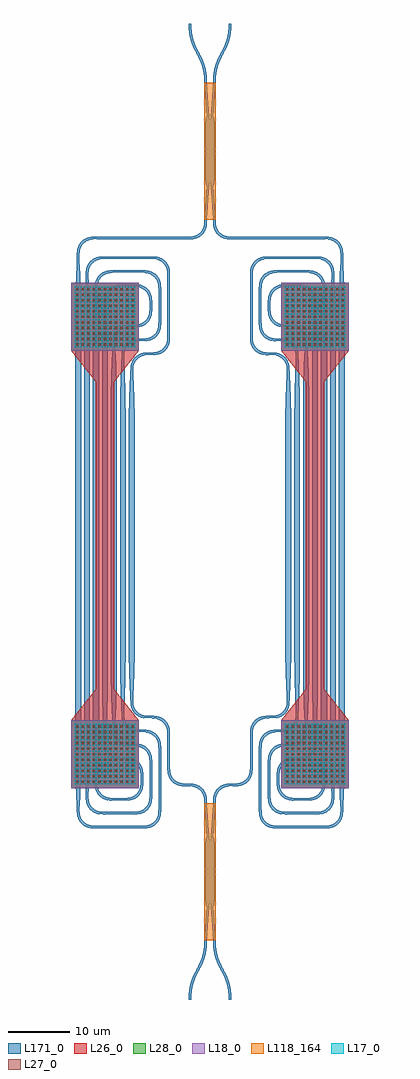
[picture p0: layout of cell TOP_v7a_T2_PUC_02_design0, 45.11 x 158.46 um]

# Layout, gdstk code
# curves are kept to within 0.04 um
import gdstk
lib = gdstk.Library(unit=1e-6, precision=1e-09)
def R(c, l, rs):  # rectangles x0, y0, x1, y1
    for r in rs: c.add(gdstk.rectangle(r[:2], r[2:], *l))
def A(c, l, x, y, w, h, nx, ny, dx, dy):  # array of equal rectangles
    R(c, l, [(x+i*dx, y+j*dy, x+i*dx+w, y+j*dy+h) for i in range(nx) for j in range(ny)])
def P(c, l, *ps):  # polygons
    for p in ps: c.add(gdstk.Polygon(p, *l))
L17_0 = (17, 0)
L18_0 = (18, 0)
L26_0 = (26, 0)
L27_0 = (27, 0)
L28_0 = (28, 0)
L118_164 = (118, 164)
L171_0 = (171, 0)

top_v7a_t2_puc_02_design = lib.new_cell('TOP_v7a_T2_PUC_02_design0')
A(top_v7a_t2_puc_02_design, L17_0, -21.955, -44.298, 0.2, 0.2, 21, 21, 0.48, 0.48)
A(top_v7a_t2_puc_02_design, L17_0, 12.155, -44.298, 0.2, 0.2, 21, 21, 0.48, 0.48)
A(top_v7a_t2_puc_02_design, L17_0, -21.955, 26.702, 0.2, 0.2, 21, 21, 0.48, 0.48)
A(top_v7a_t2_puc_02_design, L17_0, 12.155, 26.702, 0.2, 0.2, 21, 21, 0.48, 0.48)
R(top_v7a_t2_puc_02_design, L18_0, [(-22.555,-44.898,-11.555,-33.898), (11.555,-44.898,22.555,-33.898), (-22.555,26.102,-11.555,37.102), (11.555,26.102,22.555,37.102)])
R(top_v7a_t2_puc_02_design, L26_0, [(-22.555,-44.898,-11.555,-33.898), (11.555,-44.898,22.555,-33.898), (-18.555,-28.898,-15.555,21.102), (15.555,-28.898,18.555,21.102), (-22.555,26.102,-11.555,37.102), (11.555,26.102,22.555,37.102)])
P(top_v7a_t2_puc_02_design, L26_0, [(15.555,21.102),(11.555,26.102),(22.555,26.102),(18.555,21.102)],
  [(11.555,-33.898),(15.555,-28.898),(18.555,-28.898),(22.555,-33.898)],
  [(-18.555,21.102),(-22.555,26.102),(-11.555,26.102),(-15.555,21.102)],
  [(-22.555,-33.898),(-18.555,-28.898),(-15.555,-28.898),(-11.555,-33.898)])
A(top_v7a_t2_puc_02_design, L27_0, -21.735, -44.078, 0.36, 0.36, 11, 11, 0.9, 0.9)
A(top_v7a_t2_puc_02_design, L27_0, 12.375, -44.078, 0.36, 0.36, 11, 11, 0.9, 0.9)
A(top_v7a_t2_puc_02_design, L27_0, -21.735, 26.922, 0.36, 0.36, 11, 11, 0.9, 0.9)
A(top_v7a_t2_puc_02_design, L27_0, 12.375, 26.922, 0.36, 0.36, 11, 11, 0.9, 0.9)
R(top_v7a_t2_puc_02_design, L28_0, [(-22.555,-44.898,-11.555,-33.898), (11.555,-44.898,22.555,-33.898), (-22.555,26.102,-11.555,37.102), (11.555,26.102,22.555,37.102)])
R(top_v7a_t2_puc_02_design, L118_164, [(-0.91,-69.598,0.91,-47.398), (-0.91,47.398,0.91,69.598)])
R(top_v7a_t2_puc_02_design, L171_0, [(-18.405,44.193,-3.705,44.603), (3.705,44.193,18.405,44.603)])
P(top_v7a_t2_puc_02_design, L171_0, [(10.987,-51.444),(9.877,-51.337),(9.09,-50.986),(8.753,-50.716),(8.437,-50.347),(8.198,-49.925),(8.043,-49.461),(7.949,-48.406),(7.957,-38.09),(8.043,-37.425),(8.244,-36.863),(8.569,-36.367),(8.959,-35.994),(9.468,-35.691),(9.986,-35.524),(11.987,-35.405),(12.76,-35.167),(13.218,-34.843),(13.58,-34.415),(13.805,-33.951),(13.924,-33.383),(13.95,-32.648),(13.773,-27.8),(13.706,-23.254),(13.705,15.155),(13.768,19.801),(13.945,25.245),(13.87,25.926),(13.696,26.415),(13.413,26.845),(12.961,27.251),(12.546,27.469),(12.084,27.595),(10.373,27.67),(9.568,27.853),(9.136,28.074),(8.793,28.337),(8.501,28.656),(8.244,29.067),(8.031,29.683),(7.953,30.405),(7.973,36.724),(8.07,37.274),(8.244,37.727),(8.501,38.138),(8.874,38.528),(9.275,38.803),(9.72,38.996),(10.207,39.105),(10.876,39.147),(15.952,39.144),(16.888,39.012),(17.57,38.69),(18.091,38.223),(18.462,37.629),(18.675,36.835),(18.923,31.094),(19.004,26.447),(18.963,-37.374),(18.703,-44.296),(18.629,-44.907),(18.416,-45.523),(18.056,-46.06),(17.57,-46.486),(16.94,-46.792),(16.063,-46.936),(13.608,-46.94),(12.886,-46.862),(12.27,-46.649),(11.653,-46.216),(11.144,-45.523),(10.92,-44.852),(10.849,-43.906),(10.857,-42.59),(10.943,-41.925),(11.194,-41.268),(11.577,-40.746),(12.081,-40.342),(12.723,-40.063),(13.329,-39.961),(14.984,-39.891),(15.742,-39.622),(16.186,-39.279),(16.529,-38.835),(16.746,-38.317),(16.836,-37.736),(16.654,-31.491),(16.605,-27.451),(16.606,24.298),(16.673,28.844),(16.85,33.692),(16.824,34.427),(16.705,34.995),(16.454,35.498),(16.048,35.95),(15.533,36.273),(15.129,36.407),(14.595,36.476),(12.017,36.473),(11.531,36.407),(11.084,36.253),(10.685,36.009),(10.347,35.685),(10.108,35.338),(9.927,34.906),(9.811,33.888),(9.821,32.562),(9.914,31.933),(10.18,31.335),(10.577,30.875),(11.042,30.561),(11.531,30.387),(13.498,30.272),(14.292,30.059),(14.714,29.82),(15.083,29.504),(15.383,29.121),(15.623,28.639),(15.792,27.828),(15.95,24.274),(16.105,17.304),(16.102,-25.807),(16.023,-30.05),(15.787,-35.68),(15.675,-36.281),(15.439,-36.825),(15.083,-37.3),(14.624,-37.676),(14.142,-37.916),(13.608,-38.053),(11.87,-38.129),(11.302,-38.248),(10.612,-38.64),(10.108,-39.252),(9.89,-39.824),(9.815,-40.505),(9.836,-46.723),(9.988,-47.379),(10.347,-47.981),(10.878,-48.438),(11.531,-48.703),(12.556,-48.783),(17.151,-48.782),(17.884,-48.731),(18.642,-48.462),(19.272,-47.908),(19.633,-47.202),(19.745,-46.381),(19.568,-40.937),(19.505,-36.291),(19.505,28.495),(19.554,32.535),(19.739,38.732),(19.67,39.266),(19.536,39.67),(19.3,40.074),(19.018,40.387),(18.642,40.666),(18.258,40.842),(17.348,40.982),(9.656,40.987),(8.776,40.935),(8.142,40.733),(7.574,40.323),(7.164,39.755),(6.962,39.121),(6.91,38.241),(6.911,28.406),(6.948,27.77),(7.071,27.255),(7.28,26.835),(7.574,26.471),(7.938,26.177),(8.314,25.985),(8.97,25.833),(10.819,25.737),(11.292,25.601),(11.77,25.35),(12.22,24.964),(12.566,24.482),(12.79,23.934),(12.887,23.384),(13.123,17.754),(13.202,13.511),(13.202,-21.307),(13.05,-27.57),(12.9,-31.012),(12.759,-31.833),(12.566,-32.278),(12.256,-32.72),(11.901,-33.052),(11.49,-33.309),(10.653,-33.561),(9.117,-33.617),(8.446,-33.734),(7.785,-34.081),(7.28,-34.631),(7.027,-35.184),(6.921,-35.858),(6.91,-41.398),(6.5,-41.398),(6.507,-35.84),(6.606,-35.12),(6.844,-34.518),(7.383,-33.847),(7.778,-33.564),(8.168,-33.38),(8.923,-33.216),(10.683,-33.132),(11.183,-32.979),(11.587,-32.743),(12.022,-32.318),(12.322,-31.789),(12.462,-31.23),(12.5,-30.447),(12.287,-25.55),(12.205,-20.6),(12.208,13.511),(12.287,17.754),(12.5,22.602),(12.474,23.337),(12.383,23.816),(12.179,24.289),(11.836,24.733),(11.472,25.027),(11.052,25.236),(10.634,25.345),(8.812,25.432),(8.018,25.645),(7.596,25.884),(7.227,26.2),(6.927,26.583),(6.687,27.065),(6.55,27.599),(6.5,28.323),(6.535,39.085),(6.651,39.627),(6.844,40.072),(7.154,40.514),(7.509,40.846),(7.92,41.103),(8.373,41.277),(9.537,41.398),(17.234,41.397),(18.124,41.316),(18.835,41.053),(19.47,40.554),(19.912,39.879),(20.118,39.14),(20.329,33.647),(20.405,28.495),(20.405,-36.291),(20.356,-40.331),(20.153,-46.546),(20.054,-47.266),(19.816,-47.868),(19.433,-48.39),(18.882,-48.822),(18.233,-49.087),(17.402,-49.19),(12.437,-49.194),(11.273,-49.073),(10.54,-48.736),(9.985,-48.227),(9.606,-47.575),(9.423,-46.77),(9.407,-40.34),(9.506,-39.62),(9.719,-39.065),(9.951,-38.702),(10.283,-38.347),(10.678,-38.064),(11.068,-37.88),(11.823,-37.716),(13.534,-37.641),(13.952,-37.532),(14.372,-37.323),(14.8,-36.961),(15.102,-36.544),(15.296,-36.067),(15.386,-35.486),(15.178,-29.746),(15.108,-25.807),(15.105,17.304),(15.187,22.254),(15.4,27.151),(15.348,28.031),(15.186,28.58),(14.863,29.095),(14.411,29.501),(13.996,29.719),(13.534,29.845),(11.879,29.915),(11.273,30.017),(10.586,30.324),(10.054,30.78),(9.694,31.317),(9.481,31.933),(9.407,32.544),(9.399,33.86),(9.52,35.024),(9.719,35.525),(10.019,35.973),(10.409,36.346),(10.82,36.603),(11.273,36.777),(11.879,36.879),(14.669,36.887),(15.224,36.816),(15.742,36.649),(16.336,36.278),(16.773,35.801),(17.109,35.127),(17.237,34.474),(17.437,28.844),(17.505,23.995),(17.504,-27.754),(17.437,-32.3),(17.242,-37.874),(17.125,-38.531),(16.861,-39.122),(16.457,-39.626),(15.982,-39.982),(15.49,-40.202),(15.058,-40.303),(12.981,-40.433),(12.492,-40.607),(12.062,-40.89),(11.656,-41.342),(11.405,-41.845),(11.286,-42.413),(11.26,-43.099),(11.274,-44.326),(11.405,-45.041),(11.738,-45.658),(12.328,-46.188),(12.886,-46.429),(13.515,-46.522),(15.898,-46.528),(16.764,-46.402),(17.425,-46.055),(17.955,-45.465),(18.22,-44.812),(18.299,-43.934),(18.078,-38.586),(18.005,-33.94),(18.006,26.447),(18.087,31.094),(18.3,35.942),(18.274,36.677),(18.122,37.333),(17.763,37.935),(17.272,38.367),(16.674,38.633),(15.701,38.736),(10.615,38.726),(10.081,38.657),(9.677,38.523),(9.235,38.259),(8.897,37.935),(8.658,37.588),(8.477,37.156),(8.361,36.138),(8.371,30.312),(8.464,29.683),(8.681,29.165),(9.162,28.594),(9.852,28.202),(10.42,28.083),(12.158,28.007),(12.988,27.738),(13.394,27.472),(13.741,27.133),(14.016,26.732),(14.225,26.235),(14.35,25.466),(14.49,21.62),(14.605,15.155),(14.602,-23.658),(14.529,-28.103),(14.337,-33.43),(14.24,-33.98),(14.016,-34.528),(13.67,-35.01),(13.22,-35.396),(12.742,-35.647),(12.269,-35.783),(10.42,-35.879),(9.764,-36.031),(9.388,-36.223),(9.024,-36.517),(8.73,-36.881),(8.521,-37.301),(8.398,-37.816),(8.361,-38.452),(8.398,-49.07),(8.614,-49.801),(9.024,-50.369),(9.592,-50.779),(10.226,-50.981),(11.106,-51.033),(18.454,-51.033),(19.334,-50.981),(20.092,-50.712),(20.722,-50.158),(21.083,-49.452),(21.195,-48.631),(20.978,-43.086),(20.906,-38.743),(20.906,30.947),(20.978,35.29),(21.2,41.398),(21.61,41.398),(21.832,35.29),(21.904,30.947),(21.905,-38.44),(21.823,-43.39),(21.575,-49.131),(21.362,-49.925),(20.956,-50.56),(20.332,-51.072),(19.574,-51.362),(18.684,-51.443)],
  [(-18.573,-51.444),(-19.574,-51.362),(-20.285,-51.099),(-20.92,-50.6),(-21.362,-49.925),(-21.504,-49.516),(-21.592,-48.964),(-21.81,-43.794),(-21.905,-38.44),(-21.905,30.644),(-21.832,35.29),(-21.61,41.398),(-21.2,41.398),(-20.978,35.29),(-20.906,30.947),(-20.906,-38.743),(-20.978,-43.086),(-21.195,-48.631),(-21.13,-49.264),(-20.986,-49.716),(-20.722,-50.158),(-20.398,-50.496),(-20.01,-50.757),(-19.574,-50.929),(-18.454,-51.033),(-10.959,-51.032),(-10.129,-50.963),(-9.468,-50.712),(-8.897,-50.231),(-8.538,-49.629),(-8.386,-48.973),(-8.361,-38.452),(-8.398,-37.816),(-8.521,-37.301),(-8.73,-36.881),(-9.024,-36.517),(-9.388,-36.223),(-9.764,-36.031),(-10.42,-35.879),(-12.269,-35.783),(-12.742,-35.647),(-13.22,-35.396),(-13.67,-35.01),(-14.016,-34.528),(-14.24,-33.98),(-14.337,-33.43),(-14.529,-28.103),(-14.602,-23.658),(-14.605,15.155),(-14.49,21.62),(-14.35,25.466),(-14.225,26.235),(-14.016,26.732),(-13.741,27.133),(-13.394,27.472),(-12.988,27.738),(-12.158,28.007),(-10.42,28.083),(-9.852,28.202),(-9.162,28.594),(-8.681,29.165),(-8.464,29.683),(-8.371,30.312),(-8.361,36.138),(-8.477,37.156),(-8.658,37.588),(-8.897,37.935),(-9.235,38.259),(-9.677,38.523),(-10.081,38.657),(-10.615,38.726),(-15.701,38.736),(-16.674,38.633),(-17.272,38.367),(-17.763,37.935),(-18.122,37.333),(-18.274,36.677),(-18.3,35.942),(-18.087,31.094),(-18.006,26.447),(-18.005,-33.94),(-18.078,-38.586),(-18.299,-43.934),(-18.22,-44.812),(-17.955,-45.465),(-17.425,-46.055),(-16.764,-46.402),(-15.898,-46.528),(-13.515,-46.522),(-12.886,-46.429),(-12.328,-46.188),(-11.738,-45.658),(-11.405,-45.041),(-11.274,-44.326),(-11.26,-43.099),(-11.286,-42.413),(-11.405,-41.845),(-11.656,-41.342),(-12.062,-40.89),(-12.492,-40.607),(-12.981,-40.433),(-15.058,-40.303),(-15.49,-40.202),(-15.982,-39.982),(-16.457,-39.626),(-16.861,-39.122),(-17.125,-38.531),(-17.242,-37.874),(-17.437,-32.3),(-17.504,-27.754),(-17.505,23.995),(-17.437,28.844),(-17.237,34.474),(-17.109,35.127),(-16.773,35.801),(-16.336,36.278),(-15.742,36.649),(-15.224,36.816),(-14.669,36.887),(-11.879,36.879),(-11.273,36.777),(-10.82,36.603),(-10.409,36.346),(-10.019,35.973),(-9.719,35.525),(-9.52,35.024),(-9.399,33.86),(-9.407,32.544),(-9.481,31.933),(-9.694,31.317),(-10.054,30.78),(-10.586,30.324),(-11.273,30.017),(-11.879,29.915),(-13.534,29.845),(-13.996,29.719),(-14.411,29.501),(-14.863,29.095),(-15.186,28.58),(-15.348,28.031),(-15.4,27.151),(-15.187,22.254),(-15.105,17.304),(-15.108,-25.807),(-15.178,-29.746),(-15.386,-35.486),(-15.296,-36.067),(-15.102,-36.544),(-14.8,-36.961),(-14.372,-37.323),(-13.952,-37.532),(-13.534,-37.641),(-11.823,-37.716),(-11.068,-37.88),(-10.678,-38.064),(-10.283,-38.347),(-9.951,-38.702),(-9.719,-39.065),(-9.506,-39.62),(-9.407,-40.34),(-9.423,-46.77),(-9.606,-47.575),(-9.985,-48.227),(-10.54,-48.736),(-11.273,-49.073),(-12.437,-49.194),(-17.402,-49.19),(-18.233,-49.087),(-18.835,-48.849),(-19.357,-48.466),(-19.789,-47.915),(-20.054,-47.266),(-20.153,-46.546),(-20.356,-40.331),(-20.405,-36.291),(-20.405,28.495),(-20.337,33.344),(-20.137,38.974),(-19.954,39.779),(-19.506,40.514),(-18.882,41.026),(-18.124,41.316),(-17.123,41.398),(-8.923,41.374),(-8.118,41.191),(-7.383,40.743),(-6.844,40.072),(-6.56,39.251),(-6.499,38.36),(-6.507,28.044),(-6.593,27.379),(-6.794,26.817),(-7.119,26.321),(-7.509,25.948),(-8.018,25.645),(-8.536,25.478),(-10.537,25.359),(-11.31,25.121),(-11.768,24.797),(-12.13,24.369),(-12.355,23.905),(-12.474,23.337),(-12.5,22.602),(-12.287,17.754),(-12.208,13.511),(-12.205,-20.6),(-12.278,-25.246),(-12.495,-30.791),(-12.42,-31.472),(-12.246,-31.961),(-11.932,-32.426),(-11.472,-32.823),(-11.052,-33.032),(-10.634,-33.141),(-8.923,-33.216),(-8.168,-33.38),(-7.778,-33.564),(-7.383,-33.847),(-6.844,-34.518),(-6.606,-35.12),(-6.507,-35.84),(-6.5,-41.398),(-6.91,-41.398),(-6.921,-35.858),(-7.027,-35.184),(-7.28,-34.631),(-7.785,-34.081),(-8.446,-33.734),(-9.117,-33.617),(-10.653,-33.561),(-11.49,-33.309),(-11.901,-33.052),(-12.256,-32.72),(-12.566,-32.278),(-12.759,-31.833),(-12.9,-31.012),(-13.05,-27.57),(-13.202,-21.307),(-13.202,13.511),(-13.123,17.754),(-12.887,23.384),(-12.79,23.934),(-12.566,24.482),(-12.22,24.964),(-11.77,25.35),(-11.292,25.601),(-10.819,25.737),(-8.97,25.833),(-8.314,25.985),(-7.938,26.177),(-7.574,26.471),(-7.28,26.835),(-7.071,27.255),(-6.948,27.77),(-6.911,28.406),(-6.91,38.241),(-6.962,39.121),(-7.208,39.838),(-7.642,40.387),(-8.227,40.773),(-8.97,40.961),(-17.495,40.976),(-18.258,40.842),(-18.948,40.45),(-19.3,40.074),(-19.572,39.583),(-19.698,39.121),(-19.749,38.388),(-19.573,33.344),(-19.505,28.495),(-19.505,-36.291),(-19.573,-41.14),(-19.75,-46.037),(-19.689,-46.966),(-19.452,-47.634),(-18.948,-48.246),(-18.346,-48.605),(-17.884,-48.731),(-17.151,-48.782),(-12.409,-48.782),(-11.531,-48.703),(-10.878,-48.438),(-10.347,-47.981),(-9.988,-47.379),(-9.836,-46.723),(-9.815,-40.505),(-9.89,-39.824),(-10.108,-39.252),(-10.612,-38.64),(-11.302,-38.248),(-11.87,-38.129),(-13.608,-38.053),(-14.142,-37.916),(-14.624,-37.676),(-15.083,-37.3),(-15.439,-36.825),(-15.675,-36.281),(-15.787,-35.68),(-16.023,-30.05),(-16.102,-25.807),(-16.105,17.304),(-16.032,21.95),(-15.803,27.66),(-15.74,28.216),(-15.604,28.689),(-15.383,29.121),(-15.083,29.504),(-14.714,29.82),(-14.292,30.059),(-13.498,30.272),(-11.531,30.387),(-11.042,30.561),(-10.612,30.844),(-10.18,31.335),(-9.914,31.933),(-9.821,32.562),(-9.81,33.741),(-9.914,34.861),(-10.064,35.255),(-10.288,35.612),(-10.612,35.95),(-10.959,36.189),(-11.391,36.37),(-11.87,36.461),(-14.595,36.476),(-15.081,36.417),(-15.49,36.291),(-15.975,36.009),(-16.4,35.574),(-16.689,35.039),(-16.824,34.427),(-16.85,33.692),(-16.673,28.844),(-16.606,24.298),(-16.605,-27.451),(-16.654,-31.491),(-16.836,-37.736),(-16.746,-38.317),(-16.529,-38.835),(-16.186,-39.279),(-15.742,-39.622),(-14.984,-39.891),(-13.329,-39.961),(-12.723,-40.063),(-12.081,-40.342),(-11.577,-40.746),(-11.194,-41.268),(-10.943,-41.925),(-10.857,-42.59),(-10.849,-43.906),(-10.92,-44.852),(-11.144,-45.523),(-11.577,-46.14),(-12.27,-46.649),(-12.886,-46.862),(-13.608,-46.94),(-16.063,-46.936),(-16.94,-46.792),(-17.57,-46.486),(-18.056,-46.06),(-18.416,-45.523),(-18.629,-44.907),(-18.703,-44.296),(-18.963,-37.374),(-19.004,26.447),(-18.923,31.094),(-18.675,36.835),(-18.462,37.629),(-18.091,38.223),(-17.524,38.72),(-16.837,39.027),(-15.784,39.147),(-10.541,39.137),(-9.986,39.066),(-9.468,38.899),(-9.002,38.628),(-8.604,38.264),(-8.294,37.822),(-8.085,37.325),(-7.985,36.835),(-7.949,36.11),(-7.957,30.294),(-8.056,29.574),(-8.294,28.972),(-8.833,28.301),(-9.228,28.018),(-9.618,27.834),(-10.373,27.67),(-12.133,27.586),(-12.633,27.433),(-13.037,27.197),(-13.472,26.772),(-13.772,26.243),(-13.912,25.684),(-13.95,24.901),(-13.773,20.004),(-13.705,15.155),(-13.706,-23.254),(-13.936,-33.236),(-13.846,-33.817),(-13.652,-34.294),(-13.35,-34.711),(-12.961,-35.047),(-12.546,-35.265),(-12.133,-35.382),(-10.262,-35.478),(-9.468,-35.691),(-9.046,-35.93),(-8.677,-36.246),(-8.377,-36.629),(-8.137,-37.111),(-8,-37.645),(-7.95,-38.369),(-7.985,-49.131),(-8.198,-49.925),(-8.604,-50.56),(-9.228,-51.072),(-9.986,-51.362),(-10.876,-51.443)],
  [(-0.91,47.398),(-0.536,52.588),(-0.731,53.691),(-0.792,54.743),(-0.728,58.057),(-0.79,62.364),(-0.731,63.305),(-0.537,64.462),(-0.91,69.598),(-0.5,69.598),(-0.144,64.026),(-0.095,63.732),(0,63.626),(0.095,63.732),(0.144,64.026),(0.5,69.598),(0.91,69.598),(0.536,64.408),(0.731,63.305),(0.792,62.253),(0.728,58.939),(0.79,54.632),(0.731,53.691),(0.537,52.534),(0.91,47.398),(0.5,47.398),(0.144,52.97),(0.095,53.264),(0,53.37),(-0.095,53.264),(-0.144,52.97),(-0.5,47.398)],
  [(-0.91,-69.598),(-0.536,-64.408),(-0.731,-63.305),(-0.792,-62.253),(-0.728,-58.939),(-0.79,-54.632),(-0.731,-53.691),(-0.537,-52.534),(-0.91,-47.398),(-0.5,-47.398),(-0.144,-52.97),(-0.095,-53.264),(0,-53.37),(0.095,-53.264),(0.144,-52.97),(0.5,-47.398),(0.91,-47.398),(0.536,-52.588),(0.731,-53.691),(0.792,-54.743),(0.728,-58.057),(0.79,-62.364),(0.731,-63.305),(0.537,-64.462),(0.91,-69.598),(0.5,-69.598),(0.144,-64.026),(0.095,-63.732),(0,-63.626),(-0.095,-63.732),(-0.144,-64.026),(-0.5,-69.598)],
  [(0.5,69.598),(0.605,71.178),(0.899,72.489),(1.285,73.485),(2.312,75.523),(2.681,76.491),(2.96,77.78),(3.05,79.228),(3.46,79.228),(3.355,77.648),(3.061,76.337),(2.675,75.341),(1.648,73.303),(1.279,72.335),(1,71.046),(0.91,69.598)],
  [(-0.91,69.598),(-1,71.046),(-1.279,72.335),(-1.699,73.414),(-2.748,75.504),(-3.159,76.676),(-3.379,77.826),(-3.46,79.228),(-3.05,79.228),(-2.96,77.78),(-2.681,76.491),(-2.261,75.412),(-1.212,73.322),(-0.801,72.15),(-0.581,71),(-0.5,69.598)],
  [(3.05,-79.228),(2.96,-77.78),(2.681,-76.491),(2.261,-75.412),(1.212,-73.322),(0.801,-72.15),(0.581,-71),(0.5,-69.598),(0.91,-69.598),(1,-71.046),(1.279,-72.335),(1.699,-73.414),(2.748,-75.504),(3.159,-76.676),(3.379,-77.826),(3.46,-79.228)],
  [(-3.46,-79.228),(-3.355,-77.648),(-3.061,-76.337),(-2.675,-75.341),(-1.648,-73.303),(-1.279,-72.335),(-1,-71.046),(-0.91,-69.598),(-0.5,-69.598),(-0.605,-71.178),(-0.899,-72.489),(-1.285,-73.485),(-2.312,-75.523),(-2.681,-76.491),(-2.96,-77.78),(-3.05,-79.228)],
  [(3.537,44.192),(2.812,44.228),(2.27,44.344),(1.686,44.62),(1.227,44.996),(0.871,45.471),(0.635,46.015),(0.523,46.616),(0.5,47.398),(0.91,47.398),(0.936,46.663),(1.041,46.139),(1.255,45.671),(1.574,45.267),(1.978,44.948),(2.446,44.734),(2.97,44.629),(3.705,44.603),(3.705,44.193)],
  [(21.2,41.398),(21.174,42.133),(21.096,42.567),(20.924,43.003),(20.663,43.391),(20.211,43.797),(19.708,44.048),(19.14,44.167),(18.405,44.193),(18.405,44.603),(19.187,44.58),(19.84,44.452),(20.47,44.146),(20.956,43.72),(21.404,42.985),(21.587,42.18),(21.61,41.398)],
  [(-3.593,44.192),(-3.705,44.193),(-3.705,44.603),(-2.97,44.629),(-2.446,44.734),(-1.978,44.948),(-1.574,45.267),(-1.255,45.671),(-1.041,46.139),(-0.936,46.663),(-0.91,47.398),(-0.5,47.398),(-0.523,46.616),(-0.635,46.015),(-0.871,45.471),(-1.227,44.996),(-1.686,44.62),(-2.27,44.344),(-2.812,44.228)],
  [(-21.61,41.398),(-21.587,42.18),(-21.475,42.781),(-21.239,43.325),(-20.883,43.8),(-20.424,44.176),(-19.84,44.452),(-19.187,44.58),(-18.405,44.603),(-18.405,44.193),(-19.14,44.167),(-19.664,44.062),(-20.132,43.848),(-20.536,43.529),(-20.855,43.125),(-21.069,42.657),(-21.174,42.133),(-21.2,41.398)],
  [(0.5,-47.398),(0.523,-46.616),(0.635,-46.015),(0.871,-45.471),(1.227,-44.996),(1.686,-44.62),(2.27,-44.344),(2.923,-44.216),(3.705,-44.193),(3.705,-44.603),(2.97,-44.629),(2.446,-44.734),(1.978,-44.948),(1.574,-45.267),(1.255,-45.671),(1.041,-46.139),(0.936,-46.663),(0.91,-47.398)],
  [(3.817,-44.604),(3.705,-44.603),(3.705,-44.193),(4.44,-44.167),(4.964,-44.062),(5.432,-43.848),(5.836,-43.529),(6.155,-43.125),(6.369,-42.657),(6.474,-42.133),(6.5,-41.398),(6.91,-41.398),(6.887,-42.18),(6.775,-42.781),(6.539,-43.325),(6.183,-43.8),(5.724,-44.176),(5.14,-44.452),(4.598,-44.568)],
  [(-0.91,-47.398),(-0.936,-46.663),(-1.014,-46.229),(-1.186,-45.793),(-1.447,-45.405),(-1.899,-44.999),(-2.402,-44.748),(-2.97,-44.629),(-3.705,-44.603),(-3.705,-44.193),(-2.923,-44.216),(-2.27,-44.344),(-1.64,-44.65),(-1.154,-45.076),(-0.706,-45.811),(-0.523,-46.616),(-0.5,-47.398)],
  [(-3.873,-44.604),(-4.598,-44.568),(-5.14,-44.452),(-5.724,-44.176),(-6.183,-43.8),(-6.539,-43.325),(-6.775,-42.781),(-6.887,-42.18),(-6.91,-41.398),(-6.5,-41.398),(-6.474,-42.133),(-6.369,-42.657),(-6.155,-43.125),(-5.836,-43.529),(-5.432,-43.848),(-4.964,-44.062),(-4.44,-44.167),(-3.705,-44.193),(-3.705,-44.603)])

lib.write_gds('TOP_v7a_T2_PUC_02_design0.gds')
